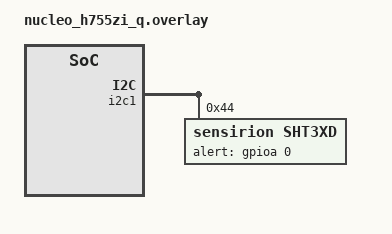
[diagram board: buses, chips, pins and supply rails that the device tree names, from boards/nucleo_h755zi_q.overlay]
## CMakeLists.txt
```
cmake_minimum_required(VERSION 3.13.1)
find_package(Zephyr REQUIRED HINTS $ENV{ZEPHYR_BASE})

project(app LANGUAGES CXX)

set(CMAKE_CXX_STANDARD 17)
set(CMAKE_CXX_STANDARD_REQUIRED ON)

# include directories
target_include_directories(app PRIVATE
    modules/sht3xd_reader
    modules/udp_client
)

target_sources(app PRIVATE
    src/main.cpp
    modules/sht3xd_reader/sht3xd_reader.cpp
    modules/udp_client/udp_client.cpp
)
```

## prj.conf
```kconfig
# ==============================================================================
# ZEPHYR SHT31 SENSOR UDP APPLICATION CONFIGURATION
# ==============================================================================
# This configuration file enables all necessary Zephyr features for:
# - SHT31 temperature/humidity sensor via I2C
# - UDP data transmission over Ethernet
# - Remote Telnet console access
# - Network diagnostics and monitoring
# ==============================================================================

# ==============================================================================
# CORE SYSTEM CONFIGURATION
# ==============================================================================

# Console and logging support
CONFIG_STDOUT_CONSOLE=y
CONFIG_LOG=y
CONFIG_LOG_DEFAULT_LEVEL=3
CONFIG_LOG_MODE_IMMEDIATE=y

# Sensor and hardware support
CONFIG_SENSOR=y
CONFIG_I2C=y

# C++ and floating point support
CONFIG_CPP=y
CONFIG_CBPRINTF_FP_SUPPORT=y
CONFIG_STATIC_INIT_GNU=y

# ==============================================================================
# NETWORKING CONFIGURATION
# ==============================================================================

# Core networking stack
CONFIG_NETWORKING=y
CONFIG_NET_SOCKETS=y
CONFIG_POSIX_API=y

# Network protocols
CONFIG_NET_UDP=y
CONFIG_NET_IPV4=y
CONFIG_NET_TCP=y

# Static IP configuration for Nucleo board
CONFIG_NET_CONFIG_SETTINGS=y
CONFIG_NET_CONFIG_MY_IPV4_ADDR="192.168.1.38"
CONFIG_NET_CONFIG_MY_IPV4_NETMASK="255.255.255.0"
CONFIG_NET_CONFIG_MY_IPV4_GW="192.168.1.1"

# Ethernet hardware support
CONFIG_NET_L2_ETHERNET=y

# Network buffer configuration
CONFIG_NET_PKT_RX_COUNT=10
CONFIG_NET_PKT_TX_COUNT=10
CONFIG_NET_BUF_RX_COUNT=20
CONFIG_NET_BUF_TX_COUNT=20

# Network debugging and monitoring
CONFIG_NET_LOG=y
CONFIG_NET_TCP_LOG_LEVEL_DBG=y

# ==============================================================================
# NETWORK STATISTICS AND MONITORING
# ==============================================================================

CONFIG_NET_STATISTICS=y
CONFIG_NET_STATISTICS_ETHERNET=y
CONFIG_NET_STATISTICS_IPV4=y
CONFIG_NET_STATISTICS_UDP=y

# ==============================================================================
# MEMORY AND STACK CONFIGURATION
# ==============================================================================

# Heap memory for dynamic allocation
CONFIG_HEAP_MEM_POOL_SIZE=8192

# Thread stack sizes optimized for networking and sensors
CONFIG_MAIN_STACK_SIZE=4096
CONFIG_SYSTEM_WORKQUEUE_STACK_SIZE=2048
CONFIG_NET_TX_STACK_SIZE=2048
CONFIG_NET_RX_STACK_SIZE=2048

# ==============================================================================
# SHELL AND CONSOLE CONFIGURATION
# ==============================================================================

# Shell subsystem
CONFIG_SHELL=y
CONFIG_SHELL_BACKEND_SERIAL=y
CONFIG_SHELL_BACKEND_TELNET=y
CONFIG_NET_SHELL=y

# Logging backends - separate logs from shell
CONFIG_LOG_BACKEND_UART=y
CONFIG_LOG_BACKEND_NET=n
CONFIG_SHELL_LOG_BACKEND=n

# ==============================================================================
# SHELL CUSTOMIZATION
# ==============================================================================

# Custom shell prompts for different interfaces
CONFIG_SHELL_PROMPT_UART="nucleo-usb:~$ "
CONFIG_SHELL_PROMPT_TELNET="nucleo-eth:~$ "

# Shell appearance and features
CONFIG_SHELL_VT100_COLORS=y

# ==============================================================================
# TARGET CONFIGURATION SUMMARY
# ==============================================================================
# Board: STM32 Nucleo H755ZI-Q
# IP:    192.168.1.38 (static)
# UDP:   Sends sensor data to 192.168.1.37:8888
# Shell: Available via USB and Telnet (port 23)
# ==============================================================================
```

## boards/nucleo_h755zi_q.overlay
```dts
&i2c1 {
    status = "okay"; /* I2C1 active, SDA=PB9, SCL=PB8 */

    sht3xd@44 {
        compatible = "sensirion,sht3xd";
        reg = <0x44>; /* I2C-address of sensor */
        alert-gpios = <&gpioa 0 GPIO_ACTIVE_HIGH>;
    };
};
```

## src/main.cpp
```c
#include <stdio.h>
#include <string.h>
#include <zephyr/kernel.h>
#include <zephyr/logging/log.h>

#include "sensor_handler.h"
#include "udp_client.h"

LOG_MODULE_REGISTER(main);

/**
 * @brief Main application entry point
 *
 * This function initializes the SensorHandler and UDP client, then continuously
 * processes sensor data and transmits it via UDP at 1Hz to the configured remote
 * server. The application uses a clean architecture with SensorHandler managing
 * all sensor operations and data caching.
 *
 * Architecture flow:
 * SensorHandler.update() -> SensorData (with timestamp) -> UDP transmission
 *
 * @return int Return code (never reached due to infinite loop)
 */
int main(void) {
    // Initialize high-level sensor handler for SHT31 temperature/humidity sensor
    // SensorHandler encapsulates SHT3xReader and manages SensorData internally
    SensorHandler my_sensor;

    // Initialize UDP client with target server IP and port
    // Target: 192.168.1.37:8888
    UdpClient udp_client("192.168.1.37", 8888);

    LOG_INF("=== SHT31 Sensor UDP Transmitter ===");
    LOG_INF("Using SensorHandler with integrated SensorData management");
    LOG_INF("Target server: 192.168.1.37:8888");

    // Wait for network initialization to complete
    // This ensures Ethernet interface is up and IP is configured
    LOG_INF("Waiting for network initialization...");
    k_sleep(K_SECONDS(3));
    LOG_INF("Starting sensor data transmission loop");

    // Main application loop - runs continuously
    while (true) {
        // Update sensor readings using SensorHandler
        // This calls SHT3xReader internally and updates SensorData with timestamp
        if (my_sensor.update()) {
            // Get reference to SensorData structure (contains temp, humidity, timestamp)
            const SensorData& sensor_data = my_sensor.getData();
            
            // Log sensor readings locally via UART
            // Explicit cast to double to avoid float-to-double promotion warnings
            LOG_INF("Sensor readings: %.2f deg, %.2f %%", 
                    (double)sensor_data.temperature, (double)sensor_data.humidity);

            // Transmit complete SensorData structure via UDP
            // SensorData is packed and optimized for network transmission
            if (udp_client.send(&sensor_data, sizeof(sensor_data))) {
                // Log successful transmission with timestamp
                // Explicit casts to avoid float-to-double promotion warnings
                LOG_INF("UDP transmitted: %.2f deg, %.2f %% [%u ms]", 
                        (double)sensor_data.temperature,
                        (double)sensor_data.humidity, 
                        sensor_data.timestamp);
            } else {
                // Log transmission failure
                LOG_ERR("UDP transmission failed");
            }
        } else {
            // Log sensor read failure
            LOG_ERR("Sensor reading failed");
        }

        // Wait 1 second before next sensor reading
        // This creates a 1Hz sampling rate
        k_sleep(K_SECONDS(1));
    }

    // This return is never reached due to infinite loop
    return 0;
}
```

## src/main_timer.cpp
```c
#include <zephyr/kernel.h>
#include <zephyr/logging/log.h>

#include "sht3xd_reader.h"

LOG_MODULE_REGISTER(main);

// Global pointer to sensor instance (not the object itself to avoid early construction)
static SHT3xReader *my_sensor = nullptr;

// Work queue handler for sensor readings - runs in thread context
static void sensor_work_handler(struct k_work *work) {
    // Only read sensor if it's properly initialized
    if (my_sensor && my_sensor->fetch()) {
        LOG_INF("Temp: %.2f C, Hum: %.2f %%", my_sensor->getTemperature(), my_sensor->getHumidity());
    }
}

// Define work item for sensor readings
K_WORK_DEFINE(sensor_work, sensor_work_handler);

// Timer callback - runs in interrupt context, schedules work for thread context
void walltimer_handler(struct k_timer *timer_id) {
    // Submit work to system work queue for thread context execution
    k_work_submit(&sensor_work);
}

// Define timer with callback
K_TIMER_DEFINE(my_timer, walltimer_handler, nullptr);

int main(void) {
    // Create sensor instance on stack (after system initialization)
    SHT3xReader sensor_instance;
    my_sensor = &sensor_instance;

    LOG_INF("Starting callback-based SHT3x reader...");

    // Start timer - first trigger after 1 second, then every 2 seconds
    k_timer_start(&my_timer, K_SECONDS(1), K_SECONDS(2));

    // Keep main thread alive forever - all work is done via timer callbacks
    k_sleep(K_FOREVER);

    // legacy solution busy wait
    /*
    while (true) {
        if (my_sensor.fetch()) {
            LOG_INF("Temp: %.2f C, Hum: %.2f %%", my_sensor.getTemperature(), my_sensor.getHumidity());
        }
        k_sleep(K_SECONDS(2));
    }
    */

    return 0;
}
```

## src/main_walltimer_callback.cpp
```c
#include <zephyr/kernel.h>
#include <zephyr/logging/log.h>

#include "sht3xd_reader.h"

LOG_MODULE_REGISTER(main);

// Global pointer to sensor instance (not the object itself to avoid early construction)
static SHT3xReader *my_sensor = nullptr;

// Work queue handler for sensor readings - runs in thread context
static void sensor_work_handler(struct k_work *work) {
    // Only read sensor if it's properly initialized
    if (my_sensor && my_sensor->fetch()) {
        LOG_INF("Temp: %.2f C, Hum: %.2f %%", my_sensor->getTemperature(), my_sensor->getHumidity());
    }
}

// Define work item for sensor readings
K_WORK_DEFINE(sensor_work, sensor_work_handler);

// Timer callback - runs in interrupt context, schedules work for thread context
void walltimer_handler(struct k_timer *timer_id) {
    // Submit work to system work queue for thread context execution
    k_work_submit(&sensor_work);
}

// Define timer with callback
K_TIMER_DEFINE(my_timer, walltimer_handler, nullptr);

int main(void) {
    // Create sensor instance on stack (after system initialization)
    SHT3xReader sensor_instance;
    my_sensor = &sensor_instance;

    LOG_INF("Starting callback-based SHT3x reader...");

    // Start timer - first trigger after 1 second, then every 2 seconds
    k_timer_start(&my_timer, K_SECONDS(1), K_SECONDS(2));

    // Keep main thread alive forever - all work is done via timer callbacks
    k_sleep(K_FOREVER);

    return 0;
}
```
